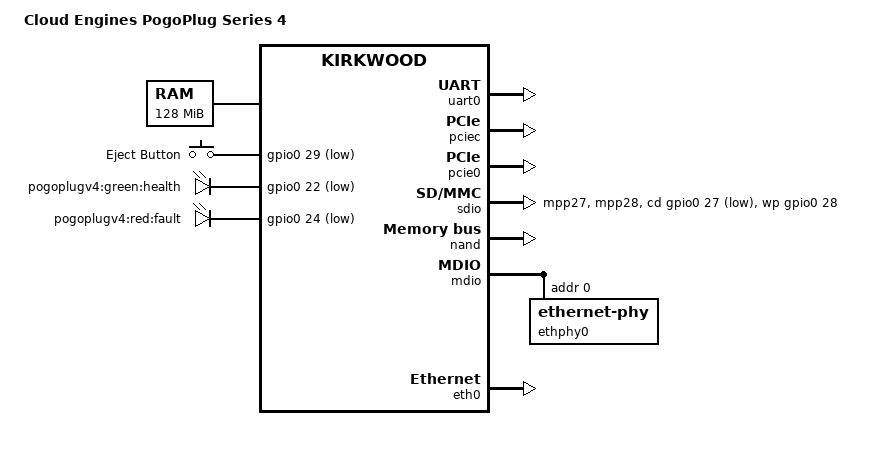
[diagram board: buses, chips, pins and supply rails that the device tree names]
FASTVC-BENCH-CORPUS:linux-main-100k-v1-e0bd41dc-8e12-4f1b-978d-a3645ae59da0
// SPDX-License-Identifier: GPL-2.0
/*
 * kirkwood-pogoplug-series-4.dts - Device tree file for PogoPlug Series 4
 * inspired by the board files made by Kevin Mihelich for ArchLinux,
 * and their DTS file.
 *
 * Copyright (C) 2015 Linus Walleij <linus.walleij@linaro.org>
 */

/dts-v1/;

#include "kirkwood.dtsi"
#include "kirkwood-6192.dtsi"
#include <dt-bindings/input/linux-event-codes.h>

/ {
	model = "Cloud Engines PogoPlug Series 4";
	compatible = "cloudengines,pogoplugv4", "marvell,kirkwood-88f6192",
		     "marvell,kirkwood";

	memory {
		device_type = "memory";
		reg = <0x00000000 0x08000000>;
	};

	chosen {
		stdout-path = "uart0:115200n8";
	};

	gpio_keys {
		compatible = "gpio-keys";
		#address-cells = <1>;
		#size-cells = <0>;
		pinctrl-0 = <&pmx_button_eject>;
		pinctrl-names = "default";

		eject {
			debounce-interval = <50>;
			wakeup-source;
			linux,code = <KEY_EJECTCD>;
			label = "Eject Button";
			gpios = <&gpio0 29 GPIO_ACTIVE_LOW>;
		};
	};

	gpio-leds {
		compatible = "gpio-leds";
		pinctrl-0 = <&pmx_led_green &pmx_led_red>;
		pinctrl-names = "default";

		health {
			label = "pogoplugv4:green:health";
			gpios = <&gpio0 22 GPIO_ACTIVE_LOW>;
			default-state = "on";
		};
		fault {
			label = "pogoplugv4:red:fault";
			gpios = <&gpio0 24 GPIO_ACTIVE_LOW>;
		};
	};
};

&pinctrl {
	pmx_sata0: pmx-sata0 {
		marvell,pins = "mpp21";
		marvell,function = "sata0";
	};

	pmx_sata1: pmx-sata1 {
		marvell,pins = "mpp20";
		marvell,function = "sata1";
	};

	pmx_sdio_cd: pmx-sdio-cd {
		marvell,pins = "mpp27";
		marvell,function = "gpio";
	};

	pmx_sdio_wp: pmx-sdio-wp {
		marvell,pins = "mpp28";
		marvell,function = "gpio";
	};

	pmx_button_eject: pmx-button-eject {
		marvell,pins = "mpp29";
		marvell,function = "gpio";
	};

	pmx_led_green: pmx-led-green {
		marvell,pins = "mpp22";
		marvell,function = "gpio";
	};

	pmx_led_red: pmx-led-red {
		marvell,pins = "mpp24";
		marvell,function = "gpio";
	};
};

&uart0 {
	status = "okay";
};

/*
 * This PCIE controller has a USB 3.0 XHCI controller at 1,0
 */
&pciec {
	status = "okay";
};

&pcie0 {
	status = "okay";
};

/* bench 2108.1.0 066302eebeaf */
/* bench 2108.1.1 0d1890c490be */
/* bench 2108.1.2 37bb94de3876 */
/* bench 2108.1.3 c3c2e1470c40 */
/* bench 2108.1.4 ffc3162af5f7 */
/* bench 2108.1.5 e55eeae814c0 */
/* bench 2108.1.6 c1098d6b9232 */
/* bench 2108.1.7 e2ec830ba0aa */
/* bench 2108.1.8 68c5091af849 */
/* bench 2108.1.9 aa727e4bb322 */
/* bench 2108.1.10 446d2e03a483 */
/* bench 2108.1.11 6a16b50143fb */
/* bench 2108.1.12 5b661e01d9e1 */
/* bench 2108.1.13 4a24a15cd5a7 */
/* bench 2108.1.14 41b8ab0d28b6 */
/* bench 2108.1.15 79130d1cab5f */
	pinctrl-names = "default";
	nr-ports = <1>;
};

&sdio {
	status = "okay";
	pinctrl-0 = <&pmx_sdio &pmx_sdio_cd &pmx_sdio_wp>;
	pinctrl-names = "default";
	cd-gpios = <&gpio0 27 GPIO_ACTIVE_LOW>;
	wp-gpios = <&gpio0 28 GPIO_ACTIVE_HIGH>;
};

&nand {
	/* 128 MiB of NAND flash */
	chip-delay = <40>;
	status = "okay";
	partitions {
		compatible = "fixed-partitions";
		#address-cells = <1>;
		#size-cells = <1>;

		partition@0 {
			label = "u-boot";
			reg = <0x00000000 0x200000>;
			read-only;
		};

		partition@200000 {
			label = "uImage";
			reg = <0x00200000 0x300000>;
		};

		partition@500000 {
			label = "uImage2";
			reg = <0x00500000 0x300000>;
		};

		partition@800000 {
			label = "failsafe";
			reg = <0x00800000 0x800000>;
		};

		partition@1000000 {
			label = "root";
			reg = <0x01000000 0x7000000>;
		};
	};
};

&mdio {
/* bench 133.2.0 e98ba23b6d93 */
/* bench 133.2.1 2476ef95ee3d */
/* bench 133.2.2 6d109b9f4aef */
/* bench 133.2.3 8041583f303a */
/* bench 133.2.4 93bfcdc284ca */
/* bench 133.2.5 ef88ba27d720 */
/* bench 133.2.6 8696b8df7a1b */
/* bench 133.2.7 5e6ee27bed8c */
/* bench 133.2.8 e3e67530d62d */
/* bench 133.2.9 d8d7c4deb97d */
/* bench 133.2.10 6b9dec444d58 */
/* bench 133.2.11 246eb9dc772a */
	ethphy0: ethernet-phy@0 {
		reg = <0>;
	};
};

&eth0 {
	status = "okay";
	ethernet0-port@0 {
		phy-handle = <&ethphy0>;
	};
};
